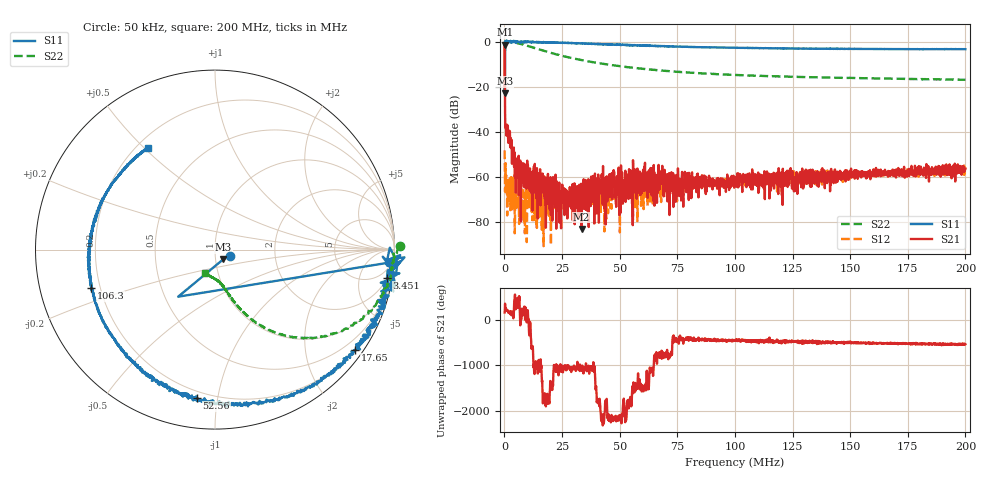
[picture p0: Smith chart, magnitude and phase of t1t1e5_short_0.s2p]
! 27-Aug-26 2:16:49 PM
! E:\20260827_VNA\T1T1E5_OPEN_0.S2P
! CHANNEL.1
! TR.MEASUREMENT
! CORRECTED.DATA
# GHZ S RI R 50.0
! FREQ.GHZ  S11RE  S11IM  S21RE  S21IM  S12RE  S12IM  S22RE  S22IM
!; PortSelection: Port_12
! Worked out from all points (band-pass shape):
!   2000 points, 50 kHz to 200 MHz, reference 50 ohm
!   highest |S21| = -1.34 dB at 150 kHz (marker M1); lowest = -83.2 dB at 33.46 MHz (marker M2)
!   |S21| within 3 dB of the highest: 134.1 kHz to 160.1 kHz (26.02 kHz wide, 17.7 % of centre)
!   lowest |S11| = -23.0 dB at 150 kHz (marker M3), VSWR 1.15, Z = 54.6 - j5.88 ohm
!   |S11| at or under -10 dB: start of sweep to 246.6 kHz
!   |S22| runs from -17.0 to 0.3 dB; largest |S21 - S12| = 0.86
!   S11 on the Smith chart (normalised r, x): 50 kHz: 1.18, -0.08; 3.451 MHz: 2, -12; 17.65 MHz: 0.22, -3.11; 52.56 MHz: 0.16, -0.87; 106.3 MHz: 0.16, -0.15; 200 MHz: 0.25, +0.51
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5e-05  0.0844 -0.0351  -0.0936 0.0291  -0.00249 -0.00288  1.033 0.0202
0.000150025  0.0467 -0.0536  -0.8282 -0.2192  0.00193 0.000511  1.015 -0.00684
0.001350325  1.003 -0.0532  -0.0112 -0.00183  -0.00082 8.37e-05  0.9848 -0.1039
0.00345085  0.9583 -0.1574  -0.002 0.00242  0.000208 -2.7e-05  0.9397 -0.2404
0.006551626  0.9265 -0.2323  0.000942 0.000157  -4.45e-05 -0.000183  0.8151 -0.3908
0.01675418  0.7949 -0.5407  -0.00032 0.000854  0.00034 0.000299  0.4048 -0.4812
0.0176544  0.7809 -0.5569  0.000212 -0.000661  9.46e-05 0.000148  0.3792 -0.4749
0.02375593  0.6252 -0.6957  0.000729 -0.000116  0.000306 0.000143  0.2604 -0.4237
0.03345835  0.3702 -0.8257  5.93e-05 3.57e-05  0.000389 0.000144  0.1622 -0.3521
0.03535883  0.3213 -0.839  -0.000251 0.000419  0.000301 -0.000104  0.149 -0.3384
0.0428607  0.128 -0.866  3.3e-05 0.000346  0.000375 -4.47e-05  0.114 -0.299
0.04506126  0.0641 -0.8746  0.000585 -0.000613  0.000545 5.27e-05  0.1048 -0.2888
0.05256313  -0.1011 -0.8261  0.000185 -0.000202  0.000471 -0.00028  0.0844 -0.2595
0.05636408  -0.1878 -0.8078  -0.00088 -0.000321  0.000235 -0.000112  0.0765 -0.2491
0.05676418  -0.1936 -0.8032  0.000347 0.000392  7.81e-05 -0.000286  0.0755 -0.2469
0.06676668  -0.3657 -0.7057  0.000847 -0.000234  0.00039 -0.000325  0.0587 -0.2227
0.07716929  -0.493 -0.579  0.000404 -0.000321  0.00029 -0.000563  0.0456 -0.2042
0.100075  -0.667 -0.2916  8.85e-05 -0.000661  -4.43e-05 -0.000863  0.0229 -0.1799
0.1062766  -0.6899 -0.214  -0.000351 -0.00113  -0.000246 -0.000906  0.0175 -0.1759
0.1333833  -0.6922 0.0889  -0.000698 -0.000949  -0.000677 -0.00052  -0.00412 -0.1616
0.1666917  -0.5681 0.3751  -0.000939 -0.000449  -0.000987 -0.00038  -0.0295 -0.1474
0.2  -0.3735 0.5649  -0.00147 -4.5e-05  -0.00152 0.000107  -0.0554 -0.13
